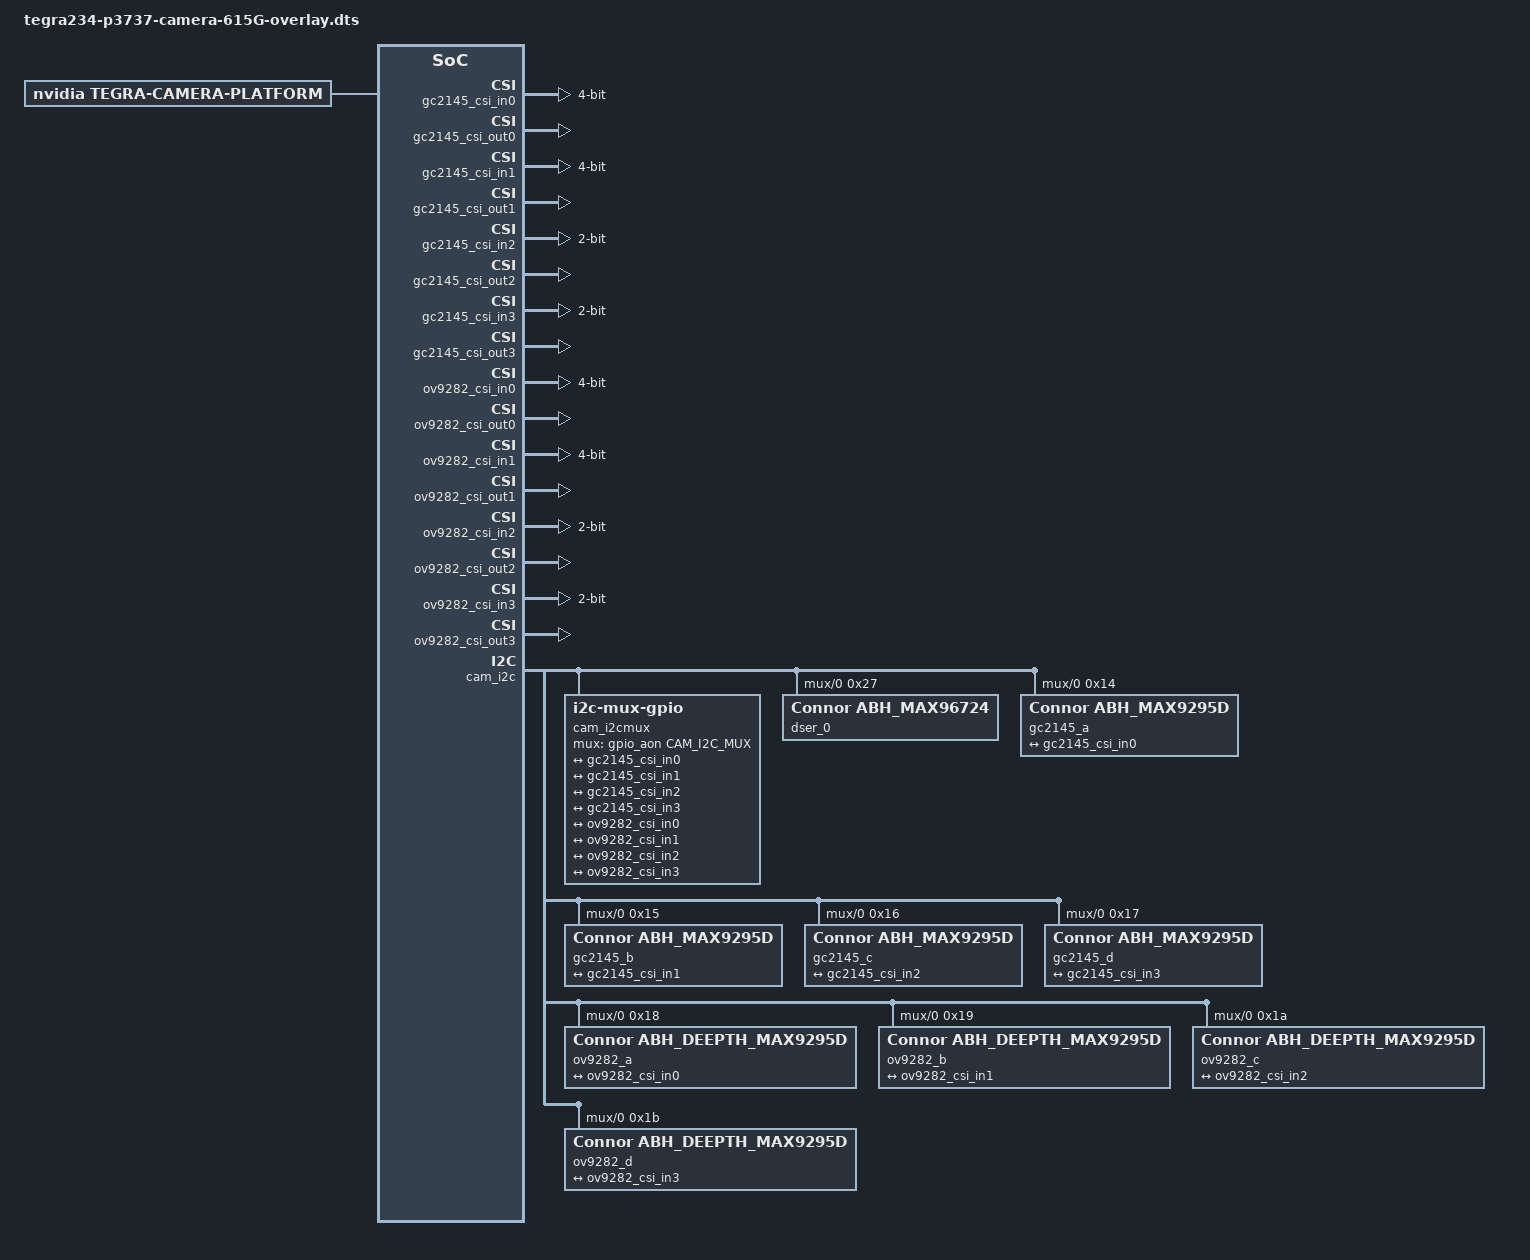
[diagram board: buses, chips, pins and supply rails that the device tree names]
// SPDX-License-Identifier: GPL-2.0-only
// SPDX-FileCopyrightText: Copyright (c) 2018-2023, NVIDIA CORPORATION & AFFILIATES. All rights reserved.

/dts-v1/;
/plugin/;

#include <dt-bindings/clock/tegra234-clock.h>
#include <dt-bindings/gpio/tegra234-gpio.h>
#include <dt-bindings/tegra234-p3737-0000+p3701-0000.h>
#include <dt-bindings/tegra234-p3767-0000-common.h>

#define CAM0_RST    TEGRA234_MAIN_GPIO(H, 3)
#define CAM0_PWDN    TEGRA234_MAIN_GPIO(H, 6)
#define CAM1_PWDN    TEGRA234_MAIN_GPIO(AC, 0)
#define CAM_I2C_MUX     TEGRA234_AON_GPIO(CC, 3)

/* camera control gpio definitions */
/ {
	overlay-name = "Jetson Camera 615G";
    jetson-header-name = "Jetson 24pin CSI Connector";
    compatible = JETSON_COMPATIBLE_P3768;

	fragment@0 {
		target-path = "/";

		__overlay__ {
			connor {
				branch {
					label = "stereo_camera_gc2145_ov9282_v1.0_20251009";
				};
			};
			tegra-capture-vi {
				num-channels = <8>;
				ports {
					status = "okay";
					port@0 {
						status = "okay";
						reg = <0>;
						gc2145_vi_in0: endpoint {
							status = "okay";
							vc-id = <0>;
							port-index = <2>;
							bus-width = <4>;
							remote-endpoint = <&gc2145_csi_out0>;
						};
					};
					port@1 {
						status = "okay";
						reg = <1>;
						gc2145_vi_in1: endpoint {
							status = "okay";
							vc-id = <2>;
							port-index = <2>;
							bus-width = <4>;
							remote-endpoint = <&gc2145_csi_out1>;
						};
					};
					port@2 {
						status = "okay";
						reg = <2>;
						gc2145_vi_in2: endpoint {
							status = "okay";
							vc-id = <2>;
							port-index = <1>;
							bus-width = <2>;
							remote-endpoint = <&gc2145_csi_out2>;
						};
					};
					port@3 {
						status = "okay";
						reg = <3>;
						gc2145_vi_in3: endpoint {
							status = "okay";
							vc-id = <2>;
							port-index = <1>;
							bus-width = <2>;
							remote-endpoint = <&gc2145_csi_out3>;
						};
					};
					port@4 {
						status = "okay";
						reg = <4>;
						ov9282_vi_in0: endpoint {
							status = "okay";
							vc-id = <1>;
							port-index = <2>;
							bus-width = <4>;
							remote-endpoint = <&ov9282_csi_out0>;
						};
					};
					port@5 {
						status = "okay";
						reg = <5>;
						ov9282_vi_in1: endpoint {
							status = "okay";
							vc-id = <3>;
							port-index = <2>;
							bus-width = <4>;
							remote-endpoint = <&ov9282_csi_out1>;
						};
					};
					port@6 {
						status = "okay";
						reg = <6>;
						ov9282_vi_in2: endpoint {
							status = "okay";
							vc-id = <3>;
							port-index = <1>;
							bus-width = <2>;
							remote-endpoint = <&ov9282_csi_out2>;
						};
					};
					port@7 {
						status = "okay";
						reg = <7>;
						ov9282_vi_in3: endpoint {
							status = "okay";
							vc-id = <3>;
							port-index = <2>;
							bus-width = <2>;
							remote-endpoint = <&ov9282_csi_out3>;
						};
					};
				};
			};
            
			tegra-camera-platform {
				compatible = "nvidia, tegra-camera-platform";
				num_csi_lanes = <4>;
				max_lane_speed = <150000000>;
				min_bits_per_pixel = <8>;
				vi_peak_byte_per_pixel = <1>;
				vi_bw_margin_pct = <25>;
				//max_pixel_rate = <15000000>;
				isp_peak_byte_per_pixel = <5>;
				isp_bw_margin_pct = <25>;
			};

			bus@0{
				host1x@13e00000 {
					nvcsi@15a00000 {
						num-channels = <8>;
						channel@0 {
							status = "okay";
							reg = <0>;
							ports {
								status = "okay";
								#address-cells = <1>;
								#size-cells = <0>;
								port@0 {
									status = "okay";
									reg = <0>;
									gc2145_csi_in0: endpoint {
										status = "okay";
										port-index = <2>;
										bus-width = <4>;
										remote-endpoint = <&gc2145_cam_out0>;
									};
								};
								port@1 {
									status = "okay";
									reg = <1>;
									gc2145_csi_out0: endpoint {
										status = "okay";
										remote-endpoint = <&gc2145_vi_in0>;
									};
								};
							};
						};
						channel@1 {
							status = "okay";
							reg = <1>;
							ports {
								status = "okay";
								#address-cells = <1>;
								#size-cells = <0>;
								port@0 {
									status = "okay";
									reg = <0>;
									gc2145_csi_in1: endpoint {
										status = "okay";
										port-index = <2>;
										bus-width = <4>;
										remote-endpoint = <&gc2145_cam_out1>;
									};
								};
								port@1 {
									status = "okay";
									reg = <1>;
									gc2145_csi_out1: endpoint {
										status = "okay";
										remote-endpoint = <&gc2145_vi_in1>;
									};
								};
							};
						};
						channel@2 {
							status = "okay";
							reg = <2>;
							ports {
								status = "okay";
								#address-cells = <1>;
								#size-cells = <0>;
								port@0 {
									status = "okay";
									reg = <0>;
									gc2145_csi_in2: endpoint {
										status = "okay";
										port-index = <1>;
										bus-width = <2>;
										remote-endpoint = <&gc2145_cam_out2>;
									};
								};
								port@1 {
									status = "okay";
									reg = <1>;
									gc2145_csi_out2: endpoint {
										status = "okay";
										remote-endpoint = <&gc2145_vi_in2>;
									};
								};
							};
						};
						channel@3 {
							status = "okay";
							reg = <3>;
							ports {
								status = "okay";
								#address-cells = <1>;
								#size-cells = <0>;
								port@0 {
									status = "okay";
									reg = <0>;
									gc2145_csi_in3: endpoint {
										status = "okay";
										port-index = <1>;
										bus-width = <2>;
										remote-endpoint = <&gc2145_cam_out3>;
									};
								};
								port@1 {
									status = "okay";
									reg = <1>;
									gc2145_csi_out3: endpoint {
										status = "okay";
										remote-endpoint = <&gc2145_vi_in3>;
									};
								};
							};
						};
						channel@4 {
							status = "okay";
							reg = <4>;
							ports {
								status = "okay";
								#address-cells = <1>;
								#size-cells = <0>;
								port@0 {
									status = "okay";
									reg = <0>;
									ov9282_csi_in0: endpoint {
										status = "okay";
										port-index = <2>;
										bus-width = <4>;
										remote-endpoint = <&ov9282_cam_out0>;
									};
								};
								port@1 {
									status = "okay";
									reg = <1>;
									ov9282_csi_out0: endpoint {
										status = "okay";
										remote-endpoint = <&ov9282_vi_in0>;
									};
								};
							};
						};
						channel@5 {
							status = "okay";
							reg = <5>;
							ports {
								status = "okay";
								#address-cells = <1>;
								#size-cells = <0>;
								port@0 {
									status = "okay";
									reg = <0>;
									ov9282_csi_in1: endpoint {
										status = "okay";
										port-index = <2>;
										bus-width = <4>;
										remote-endpoint = <&ov9282_cam_out1>;
									};
								};
								port@1 {
									status = "okay";
									reg = <1>;
									ov9282_csi_out1: endpoint {
										status = "okay";
										remote-endpoint = <&ov9282_vi_in1>;
									};
								};
							};
						};
						channel@6 {
							status = "okay";
							reg = <6>;
							ports {
								status = "okay";
								#address-cells = <1>;
								#size-cells = <0>;
								port@0 {
									status = "okay";
									reg = <0>;
									ov9282_csi_in2: endpoint {
										status = "okay";
										port-index = <1>;
										bus-width = <2>;
										remote-endpoint = <&ov9282_cam_out2>;
									};
								};
								port@1 {
									status = "okay";
									reg = <1>;
									ov9282_csi_out2: endpoint {
										status = "okay";
										remote-endpoint = <&ov9282_vi_in2>;
									};
								};
							};
						};
						channel@7 {
							status = "okay";
							reg = <7>;
							ports {
								status = "okay";
								#address-cells = <1>;
								#size-cells = <0>;
								port@0 {
									status = "okay";
									reg = <0>;
									ov9282_csi_in3: endpoint {
										status = "okay";
										port-index = <1>;
										bus-width = <2>;
										remote-endpoint = <&ov9282_cam_out3>;
									};
								};
								port@1 {
									status = "okay";
									reg = <1>;
									ov9282_csi_out3: endpoint {
										status = "okay";
										remote-endpoint = <&ov9282_vi_in3>;
									};
								};
							};
						};
					};
				};

                cam_i2cmux {
                    status = "okay";
                    compatible = "i2c-mux-gpio";
                    #address-cells = <1>;
                    #size-cells = <0>;
                    mux-gpios = <&gpio_aon CAM_I2C_MUX GPIO_ACTIVE_HIGH>;
                    i2c-parent = <&cam_i2c>;
					i2c@0 {
						reg = <0>;
						#address-cells = <1>;
						#size-cells = <0>;
						status = "okay";
						dser_0: max96724 {
							status = "okay";
							compatible = "Connor,abh_max96724";
							reg = <0x27>;
							is-master;
						};
						gc2145_a {
							status = "okay";
							def-addr = <0x3c>; /* actual i2c address of sensor */
							nvidia,gmsl-dser-device = <&dser_0>;
							des-link = "A";

							compatible = "Connor,abh_max9295d";

							reg = <0x14>; /* 9295 will translate to this i2c address */

							physical_w = "15.0";
							physical_h = "12.5";
							sensor_model ="gc2145";
							post_crop_frame_drop = "0";
							use_decibel_gain = "true";

							/* enable CID_SENSOR_MODE_ID for sensor modes selection */
							use_sensor_mode_id = "true";

							mode0 {
								mclk_khz = "24000";
								num_lanes = "2";
								tegra_sinterface = "serial_a";
								vc_id = "0";
								discontinuous_clk = "yes";
								dpcm_enable = "false";
								cil_settletime = "0";
								dynamic_pixel_bit_depth = "16";
								csi_pixel_bit_depth = "16"; 
								mode_type = "yuv";
								pixel_phase = "uyvy";

								active_w = "1600";
								active_h = "1200";
								readout_orientation = "0";
								line_length = "2800";
								inherent_gain = "1";
								pix_clk_hz = "165000000";
								serdes_pix_clk_hz = "800000000";

								gain_factor = "10";
								min_gain_val = "0"; /* dB */
								max_gain_val = "420"; /* dB */
								step_gain_val = "3"; /* 0.3 */
								default_gain = "150";
								min_hdr_ratio = "1";
								max_hdr_ratio = "1";
								framerate_factor = "1000000";
								min_framerate = "30000000";
								max_framerate = "30000000";
								step_framerate = "1";
								default_framerate = "30000000";
								exposure_factor = "1000000";
								min_exp_time = "59"; /*us, 2 lines*/
								max_exp_time = "33333";
								step_exp_time = "1";
								default_exp_time = "33333";/* us */
								embedded_metadata_height = "0";
							};

							mode1 {
								mclk_khz = "24000";
								num_lanes = "2";
								tegra_sinterface = "serial_a";
								vc_id = "0";
								discontinuous_clk = "yes";
								dpcm_enable = "false";
								cil_settletime = "0";
								dynamic_pixel_bit_depth = "16";
								csi_pixel_bit_depth = "16"; 
								mode_type = "yuv";
								pixel_phase = "uyvy";

								active_w = "1280";
								active_h = "720";
								readout_orientation = "0";
								line_length = "2800";
								inherent_gain = "1";
								pix_clk_hz = "165000000";
								serdes_pix_clk_hz = "800000000";

								gain_factor = "10";
								min_gain_val = "0"; /* dB */
								max_gain_val = "420"; /* dB */
								step_gain_val = "3"; /* 0.3 */
								default_gain = "150";
								min_hdr_ratio = "1";
								max_hdr_ratio = "1";
								framerate_factor = "1000000";
								min_framerate = "30000000";
								max_framerate = "30000000";
								step_framerate = "1";
								default_framerate = "30000000";
								exposure_factor = "1000000";
								min_exp_time = "59"; /*us, 2 lines*/
								max_exp_time = "33333";
								step_exp_time = "1";
								default_exp_time = "33333";/* us */
								embedded_metadata_height = "0";
							};

							ports {
								#address-cells = <1>;
								#size-cells = <0>;
								port@0 {
									reg = <0>;
									gc2145_cam_out0: endpoint {
										vc-id = <0>;
										port-index = <2>;
										bus-width = <4>;
										remote-endpoint = <&gc2145_csi_in0>;
									};
								};
							};
							gmsl-link {
								num-ser-lanes = <2>;
								streams = "yuv16";
							};
						};
						gc2145_b {
							status = "okay";
							def-addr = <0x3c>; /* actual i2c address of sensor */
							nvidia,gmsl-dser-device = <&dser_0>;
							des-link = "B";

							compatible = "Connor,abh_max9295d";

							reg = <0x15>; /* 9295 will translate to this i2c address */

							physical_w = "15.0";
							physical_h = "12.5";
							sensor_model ="gc2145";
							post_crop_frame_drop = "0";
							use_decibel_gain = "true";

							/* enable CID_SENSOR_MODE_ID for sensor modes selection */
							use_sensor_mode_id = "true";
							
							mode0 {
								mclk_khz = "24000";
								num_lanes = "2";
								tegra_sinterface = "serial_a";
								vc_id = "2";
								discontinuous_clk = "no";
								dpcm_enable = "false";
								cil_settletime = "0";
								dynamic_pixel_bit_depth = "16";
								csi_pixel_bit_depth = "16"; 
								mode_type = "yuv";
								pixel_phase = "uyvy";

								active_w = "1600";
								active_h = "1200";
								readout_orientation = "0";
								line_length = "2800";
								inherent_gain = "1";
								pix_clk_hz = "165000000";
								serdes_pix_clk_hz = "800000000";

								gain_factor = "10";
								min_gain_val = "0"; /* dB */
								max_gain_val = "420"; /* dB */
								step_gain_val = "3"; /* 0.3 */
								default_gain = "150";
								min_hdr_ratio = "1";
								max_hdr_ratio = "1";
								framerate_factor = "1000000";
								min_framerate = "30000000";
								max_framerate = "30000000";
								step_framerate = "1";
								default_framerate = "30000000";
								exposure_factor = "1000000";
								min_exp_time = "59"; /*us, 2 lines*/
								max_exp_time = "33333";
								step_exp_time = "1";
								default_exp_time = "33333";/* us */
								embedded_metadata_height = "0";
							};

													mode1 {
								mclk_khz = "24000";
								num_lanes = "2";
								tegra_sinterface = "serial_a";
								vc_id = "2";
								discontinuous_clk = "yes";
								dpcm_enable = "false";
								cil_settletime = "0";
								dynamic_pixel_bit_depth = "16";
								csi_pixel_bit_depth = "16"; 
								mode_type = "yuv";
								pixel_phase = "uyvy";

								active_w = "1280";
								active_h = "720";
								readout_orientation = "0";
								line_length = "2800";
								inherent_gain = "1";
								pix_clk_hz = "165000000";
								serdes_pix_clk_hz = "800000000";

								gain_factor = "10";
								min_gain_val = "0"; /* dB */
								max_gain_val = "420"; /* dB */
								step_gain_val = "3"; /* 0.3 */
								default_gain = "150";
								min_hdr_ratio = "1";
								max_hdr_ratio = "1";
								framerate_factor = "1000000";
								min_framerate = "30000000";
								max_framerate = "30000000";
								step_framerate = "1";
								default_framerate = "30000000";
								exposure_factor = "1000000";
								min_exp_time = "59"; /*us, 2 lines*/
								max_exp_time = "33333";
								step_exp_time = "1";
								default_exp_time = "33333";/* us */
								embedded_metadata_height = "0";
							};

							ports {
								#address-cells = <1>;
								#size-cells = <0>;
								port@0 {
									reg = <0>;
									gc2145_cam_out1: endpoint {
										vc-id = <2>;
										port-index = <2>;
										bus-width = <4>;
										remote-endpoint = <&gc2145_csi_in1>;
									};
								};
							};
							gmsl-link {
								num-ser-lanes = <2>;
								streams = "yuv16";
							};
						};
						gc2145_c {
							status = "okay";
							def-addr = <0x3c>; /* actual i2c address of sensor */
							nvidia,gmsl-dser-device = <&dser_0>;
							des-link = "C";

							compatible = "Connor,abh_max9295d";

							reg = <0x16>; /* 9295 will translate to this i2c address */

							physical_w = "15.0";
							physical_h = "12.5";
							sensor_model ="gc2145";
							post_crop_frame_drop = "0";
							use_decibel_gain = "true";

							/* enable CID_SENSOR_MODE_ID for sensor modes selection */
							use_sensor_mode_id = "true";

							mode0 {
								lane_polarity = "6";
								mclk_khz = "24000";
								num_lanes = "2";
								tegra_sinterface = "serial_a";
								vc_id = "2";
								discontinuous_clk = "yes";
								dpcm_enable = "false";
								cil_settletime = "0";
								dynamic_pixel_bit_depth = "16";
								csi_pixel_bit_depth = "16"; 
								mode_type = "yuv";
								pixel_phase = "uyvy";

								active_w = "1600";
								active_h = "1200";
								readout_orientation = "0";
								line_length = "2800";
								inherent_gain = "1";
								pix_clk_hz = "165000000";
								serdes_pix_clk_hz = "800000000";

								gain_factor = "10";
								min_gain_val = "0"; /* dB */
								max_gain_val = "420"; /* dB */
								step_gain_val = "3"; /* 0.3 */
								default_gain = "150";
								min_hdr_ratio = "1";
								max_hdr_ratio = "1";
								framerate_factor = "1000000";
								min_framerate = "30000000";
								max_framerate = "30000000";
								step_framerate = "1";
								default_framerate = "30000000";
								exposure_factor = "1000000";
								min_exp_time = "59"; /*us, 2 lines*/
								max_exp_time = "33333";
								step_exp_time = "1";
								default_exp_time = "33333";/* us */
								embedded_metadata_height = "0";
							};

							mode1 {
								mclk_khz = "24000";
								num_lanes = "2";
								tegra_sinterface = "serial_a";
								vc_id = "2";
								discontinuous_clk = "yes";
								dpcm_enable = "false";
								cil_settletime = "0";
								dynamic_pixel_bit_depth = "16";
								csi_pixel_bit_depth = "16"; 
								mode_type = "yuv";
								pixel_phase = "uyvy";

								active_w = "1280";
								active_h = "720";
								readout_orientation = "0";
								line_length = "2800";
								inherent_gain = "1";
								pix_clk_hz = "165000000";
								serdes_pix_clk_hz = "800000000";

								gain_factor = "10";
								min_gain_val = "0"; /* dB */
								max_gain_val = "420"; /* dB */
								step_gain_val = "3"; /* 0.3 */
								default_gain = "150";
								min_hdr_ratio = "1";
								max_hdr_ratio = "1";
								framerate_factor = "1000000";
								min_framerate = "30000000";
								max_framerate = "30000000";
								step_framerate = "1";
								default_framerate = "30000000";
								exposure_factor = "1000000";
								min_exp_time = "59"; /*us, 2 lines*/
								max_exp_time = "33333";
								step_exp_time = "1";
								default_exp_time = "33333";/* us */
								embedded_metadata_height = "0";
							};
							ports {
								#address-cells = <1>;
								#size-cells = <0>;
								port@0 {
									reg = <0>;
									gc2145_cam_out2: endpoint {
										vc-id = <2>;
										port-index = <1>;
										bus-width = <2>;
										remote-endpoint = <&gc2145_csi_in2>;
									};
								};
							};
							gmsl-link {
								num-ser-lanes = <2>;
								streams = "yuv16";
							};
						};
						gc2145_d {
							status = "okay";
							def-addr = <0x3c>; /* actual i2c address of sensor */
							nvidia,gmsl-dser-device = <&dser_0>;
							des-link = "D";

							compatible = "Connor,abh_max9295d";

							reg = <0x17>; /* 9295 will translate to this i2c address */

							physical_w = "15.0";
							physical_h = "12.5";
							sensor_model ="gc2145";
							post_crop_frame_drop = "0";
							use_decibel_gain = "true";

							/* enable CID_SENSOR_MODE_ID for sensor modes selection */
							use_sensor_mode_id = "true";

							mode0 {
								lane_polarity = "6";
								mclk_khz = "24000";
								num_lanes = "2";
								tegra_sinterface = "serial_a";
								vc_id = "2";
								discontinuous_clk = "no";
								dpcm_enable = "false";
								cil_settletime = "0";
								dynamic_pixel_bit_depth = "16";
								csi_pixel_bit_depth = "16"; 
								mode_type = "yuv";
								pixel_phase = "uyvy";

								active_w = "1600";
								active_h = "1200";
								readout_orientation = "0";
								line_length = "2800";
								inherent_gain = "1";
								pix_clk_hz = "165000000";
								serdes_pix_clk_hz = "800000000";

								gain_factor = "10";
								min_gain_val = "0"; /* dB */
								max_gain_val = "420"; /* dB */
								step_gain_val = "3"; /* 0.3 */
								default_gain = "150";
								min_hdr_ratio = "1";
								max_hdr_ratio = "1";
								framerate_factor = "1000000";
								min_framerate = "30000000";
								max_framerate = "30000000";
								step_framerate = "1";
								default_framerate = "30000000";
								exposure_factor = "1000000";
								min_exp_time = "59"; /*us, 2 lines*/
								max_exp_time = "33333";
								step_exp_time = "1";
								default_exp_time = "33333";/* us */
								embedded_metadata_height = "0";
							};

							ports {
								#address-cells = <1>;
								#size-cells = <0>;
								port@0 {
									reg = <0>;
									gc2145_cam_out3: endpoint {
										vc-id = <2>;
										port-index = <1>;
										bus-width = <2>;
										remote-endpoint = <&gc2145_csi_in3>;
									};
								};
							};
							gmsl-link {
								num-ser-lanes = <2>;
								streams = "yuv16";
							};
						};

						ov9282_a {
							status = "okay";
							def-addr = <0x37>; /* actual i2c address of sensor */
							nvidia,gmsl-dser-device = <&dser_0>;
							des-link = "A";

							compatible = "Connor,abh_deepth_max9295d";

							reg = <0x18>; /* 9295 will translate to this i2c address */

							physical_w = "15.0";
							physical_h = "12.5";
							sensor_model ="ov9282";
							post_crop_frame_drop = "0";
							use_decibel_gain = "true";

							/* enable CID_SENSOR_MODE_ID for sensor modes selection */
							use_sensor_mode_id = "true";

							mode0 {
								mclk_khz = "24000";
								num_lanes = "2";
								tegra_sinterface = "serial_a";
								vc_id = "1";
								discontinuous_clk = "no";
								dpcm_enable = "false";
								cil_settletime = "0";
								dynamic_pixel_bit_depth = "8";
								csi_pixel_bit_depth = "8"; 
								mode_type = "bayer";
								pixel_phase = "bggr";
								pixel_t = "bayer_bggr8";

								active_w = "2560";
								active_h = "800";
								readout_orientation = "0";
								line_length = "2600";
								inherent_gain = "1";
								pix_clk_hz = "165000000";
								serdes_pix_clk_hz = "800000000";

								gain_factor = "10";
								min_gain_val = "0"; /* dB */
								max_gain_val = "420"; /* dB */
								step_gain_val = "3"; /* 0.3 */
								default_gain = "150";
								min_hdr_ratio = "1";
								max_hdr_ratio = "1";
								framerate_factor = "1000000";
								min_framerate = "30000000";
								max_framerate = "30000000";
								step_framerate = "1";
								default_framerate = "30000000";
								exposure_factor = "1000000";
								min_exp_time = "59"; /*us, 2 lines*/
								max_exp_time = "33333";
								step_exp_time = "1";
								default_exp_time = "33333";/* us */
								embedded_metadata_height = "0";
							};
							ports {
								#address-cells = <1>;
								#size-cells = <0>;
								port@0 {
									reg = <0>;
									ov9282_cam_out0: endpoint {
										vc-id = <1>;
										port-index = <2>;
										bus-width = <4>;
										remote-endpoint = <&ov9282_csi_in0>;
									};
								};
							};
							gmsl-link {
								num-ser-lanes = <2>;
								streams = "raw8";
							};
						};
						ov9282_b {
							status = "okay";
							def-addr = <0x37>; /* actual i2c address of sensor */
							nvidia,gmsl-dser-device = <&dser_0>;
							des-link = "B";

							compatible = "Connor,abh_deepth_max9295d";

							reg = <0x19>; /* 9295 will translate to this i2c address */

							physical_w = "15.0";
							physical_h = "12.5";
							sensor_model ="ov9282";
							post_crop_frame_drop = "0";
							use_decibel_gain = "true";

							/* enable CID_SENSOR_MODE_ID for sensor modes selection */
							use_sensor_mode_id = "true";

							mode0 {
								mclk_khz = "24000";
								num_lanes = "2";
								tegra_sinterface = "serial_a";
								vc_id = "3";
								discontinuous_clk = "no";
								dpcm_enable = "false";
								cil_settletime = "0";
								dynamic_pixel_bit_depth = "8";
								csi_pixel_bit_depth = "8"; 
								mode_type = "bayer";
								pixel_phase = "bggr";
								pixel_t = "bayer_bggr8";

								active_w = "2560";
								active_h = "800";
								readout_orientation = "0";
								line_length = "2600";
								inherent_gain = "1";
								pix_clk_hz = "165000000";
								serdes_pix_clk_hz = "800000000";

								gain_factor = "10";
								min_gain_val = "0"; /* dB */
								max_gain_val = "420"; /* dB */
								step_gain_val = "3"; /* 0.3 */
								default_gain = "150";
								min_hdr_ratio = "1";
								max_hdr_ratio = "1";
								framerate_factor = "1000000";
								min_framerate = "30000000";
								max_framerate = "30000000";
								step_framerate = "1";
								default_framerate = "30000000";
								exposure_factor = "1000000";
								min_exp_time = "59"; /*us, 2 lines*/
								max_exp_time = "33333";
								step_exp_time = "1";
								default_exp_time = "33333";/* us */
								embedded_metadata_height = "0";
							};
							ports {
								#address-cells = <1>;
								#size-cells = <0>;
								port@0 {
									reg = <0>;
									ov9282_cam_out1: endpoint {
										vc-id = <3>;
										port-index = <2>;
										bus-width = <4>;
										remote-endpoint = <&ov9282_csi_in1>;
									};
								};
							};
							gmsl-link {
								num-ser-lanes = <2>;
								streams = "raw8";
							};
						};
						ov9282_c {
							status = "okay";
							def-addr = <0x37>; /* actual i2c address of sensor */
							nvidia,gmsl-dser-device = <&dser_0>;
							des-link = "C";

							compatible = "Connor,abh_deepth_max9295d";

							reg = <0x1a>; /* 9295 will translate to this i2c address */

							physical_w = "15.0";
							physical_h = "12.5";
							sensor_model ="ov9282";
							post_crop_frame_drop = "0";
							use_decibel_gain = "true";

							/* enable CID_SENSOR_MODE_ID for sensor modes selection */
							use_sensor_mode_id = "true";

							mode0 {
								lane_polarity = "6";
								mclk_khz = "24000";
								num_lanes = "2";
								tegra_sinterface = "serial_a";
								vc_id = "1";
								discontinuous_clk = "no";
								dpcm_enable = "false";
								cil_settletime = "0";
								dynamic_pixel_bit_depth = "8";
								csi_pixel_bit_depth = "8"; 
								mode_type = "bayer";
								pixel_phase = "bggr";
								pixel_t = "bayer_bggr8";

								active_w = "2560";
								active_h = "800";
								readout_orientation = "0";
								line_length = "2600";
								inherent_gain = "1";
								pix_clk_hz = "165000000";
								serdes_pix_clk_hz = "800000000";

								gain_factor = "10";
								min_gain_val = "0"; /* dB */
								max_gain_val = "420"; /* dB */
								step_gain_val = "3"; /* 0.3 */
								default_gain = "150";
								min_hdr_ratio = "1";
								max_hdr_ratio = "1";
								framerate_factor = "1000000";
								min_framerate = "30000000";
								max_framerate = "30000000";
								step_framerate = "1";
								default_framerate = "30000000";
								exposure_factor = "1000000";
								min_exp_time = "59"; /*us, 2 lines*/
								max_exp_time = "33333";
								step_exp_time = "1";
								default_exp_time = "33333";/* us */
								embedded_metadata_height = "0";
							};
							ports {
								#address-cells = <1>;
								#size-cells = <0>;
								port@0 {
									reg = <0>;
									ov9282_cam_out2: endpoint {
										vc-id = <3>;
										port-index = <1>;
										bus-width = <2>;
										remote-endpoint = <&ov9282_csi_in2>;
									};
								};
							};
							gmsl-link {
								num-ser-lanes = <2>;
								streams = "raw8";
							};
						};
						ov9282_d {
							status = "okay";
							def-addr = <0x37>; /* actual i2c address of sensor */
							nvidia,gmsl-dser-device = <&dser_0>;
							des-link = "D";

							compatible = "Connor,abh_deepth_max9295d";

							reg = <0x1b>; /* 9295 will translate to this i2c address */

							physical_w = "15.0";
							physical_h = "12.5";
							sensor_model ="ov9282";
							post_crop_frame_drop = "0";
							use_decibel_gain = "true";

							/* enable CID_SENSOR_MODE_ID for sensor modes selection */
							use_sensor_mode_id = "true";

							mode0 {
								lane_polarity = "6";
								mclk_khz = "24000";
								num_lanes = "2";
								tegra_sinterface = "serial_a";
								vc_id = "3";
								discontinuous_clk = "no";
								dpcm_enable = "false";
								cil_settletime = "0";
								dynamic_pixel_bit_depth = "8";
								csi_pixel_bit_depth = "8"; 
								mode_type = "bayer";
								pixel_t = "bayer_bggr8";
								pixel_phase = "bggr";

								active_w = "2560";
								active_h = "800";
								readout_orientation = "0";
								line_length = "2600";
								inherent_gain = "1";
								pix_clk_hz = "165000000";
								serdes_pix_clk_hz = "800000000";

								gain_factor = "10";
								min_gain_val = "0"; /* dB */
								max_gain_val = "420"; /* dB */
								step_gain_val = "3"; /* 0.3 */
								default_gain = "150";
								min_hdr_ratio = "1";
								max_hdr_ratio = "1";
								framerate_factor = "1000000";
								min_framerate = "30000000";
								max_framerate = "30000000";
								step_framerate = "1";
								default_framerate = "30000000";
								exposure_factor = "1000000";
								min_exp_time = "59"; /*us, 2 lines*/
								max_exp_time = "33333";
								step_exp_time = "1";
								default_exp_time = "33333";/* us */
								embedded_metadata_height = "0";
							};

							ports {
								#address-cells = <1>;
								#size-cells = <0>;
								port@0 {
									reg = <0>;
									ov9282_cam_out3: endpoint {
										vc-id = <3>;
										port-index = <1>;
										bus-width = <2>;
										remote-endpoint = <&ov9282_csi_in3>;
									};
								};
							};
							gmsl-link {
								num-ser-lanes = <2>;
								streams = "raw8";
							};
						};
					};
				};
			};
		};
	};
};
